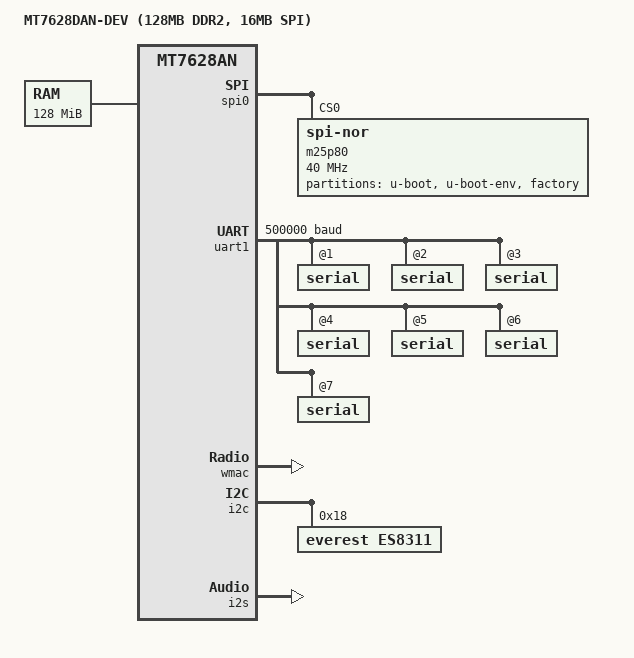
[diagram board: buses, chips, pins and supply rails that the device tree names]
/*
 * MT7628DAN-DEV 公共部分: MT7628DAN, 64MB DDR2, 8MB SPI flash
 * 板名(运行时)取自 compatible 首字符串: custom,mt7628dan-dev
 * 固件分区布局由变体 dts 定义:
 *   MT7628DAN-DEV.dts    单 firmware 分区(调试/日常)
 *   MT7628DAN-DEV-AB.dts A/B 双槽分区(生产, 与 U-Boot AB_SLOT_BOOT 地址对齐)
 */

#include "mt7628an.dtsi"

#include <dt-bindings/gpio/gpio.h>
#include <dt-bindings/input/input.h>

/ {
	compatible = "custom,mt7628dan-dev", "mediatek,mt7628an-soc";
	model = "MT7628DAN-DEV (128MB DDR2, 16MB SPI)";

	chosen {
		bootargs = "console=ttyS0,57600 root=/dev/mtdblock5 rootwait";
	};

	memory@0 {
		device_type = "memory";
		reg = <0x0 0x8000000>;
	};
};

&spi0 {
	status = "okay";

	pinctrl-names = "default";
	pinctrl-0 = <&spi_pins>;

	m25p80@0 {
		compatible = "jedec,spi-nor";
		reg = <0>;
		spi-max-frequency = <40000000>;

		partitions: partitions {
			compatible = "fixed-partitions";
			#address-cells = <1>;
			#size-cells = <1>;

			partition@0 {
				label = "u-boot";
				reg = <0x0 0x30000>;
				read-only;
			};

			partition@30000 {
				label = "u-boot-env";
				reg = <0x30000 0x10000>;
				read-only;
			};

			factory: partition@40000 {
				label = "factory";
				reg = <0x40000 0x10000>;
				read-only;
			};
		};
	};
};

&ethernet {
	mtd-mac-address = <&factory 0x28>;
};

&esw {
	/* 端口0=WAN, 1-4=LAN (WLLLLL) */
	mediatek,portmap = <0x3e>;
};

/*
 * CH9437F 八串口扩展: UART1(0x10000d00, 500Kbps) 为扩展芯片主控链路。
 * 串口0 = 主控接口; 串口1~7 挂外设, 每通道一个 serdev 控制器。
 * 485方向: 串口2 = TNOW2(PIN1, 硬件自动);
 *          串口6 = GPIO5(PIN3, 软件手动, TNOW4 属于UART4 不可用于UART6)。
 * 无设备子节点的通道回落为 /dev/ttyCHn 调试口。
 */
&uart1 {
	compatible = "wch,ch9437f";
	status = "okay";
	current-speed = <500000>;
	wch,external-clock;
	#address-cells = <1>;
	#size-cells = <0>;

	serial@1 {
		reg = <1>;
		ws63 {
			compatible = "custom,m528h-ws63";
		};
	};

	serial@2 {
		reg = <2>;
		wch,rs485-auto;
		rs485 {
			compatible = "custom,rs485";
		};
	};

	serial@3 {
		reg = <3>;
		rv1106 {
			compatible = "custom,rv1106-link";
		};
	};

	serial@4 {
		reg = <4>;
		mcu3 {
			compatible = "custom,n32s032-u3";
		};
	};

	serial@5 {
		reg = <5>;
		mcu0 {
			compatible = "custom,n32s032-u0";
		};
	};

	serial@6 {
		reg = <6>;
		wch,rs485-gpio = <5>;
		rs485 {
			compatible = "custom,rs485";
		};
	};

	serial@7 {
		reg = <7>;
		current-speed = <9600>;
		gps {
			compatible = "custom,atgm336h";
		};
	};
};

&wmac {
	status = "okay";
};

/*
 * Audio: ES8311 codec on I2C (pin24 SCL / pin25 SDA = GPIO4/5).
 * MCLK pin is floating on this board -> "mclk-from-bclk" makes the
 * codec derive its system clock from BCLK (REG01 bit7).
 */
&i2c {
	status = "okay";

	es8311: es8311@18 {
		compatible = "everest,es8311";
		reg = <0x18>;		/* CE pin grounded -> 0x18 */
		#sound-dai-cells = <0>;
		mclk-from-bclk;
		dac-volume = <192>;
	};
};

&i2s {
	#sound-dai-cells = <0>;
	status = "okay";
	pinctrl-names = "default";
	pinctrl-0 = <&i2s_pins>;
};

/* ralink-i2s requests its DMA channels from gdma */
&gdma {
	status = "okay";
};

/* MT7628 is I2S bit-clock and frame master, ES8311 is slave */
/ {
	sound {
		compatible = "simple-audio-card";
		simple-audio-card,name = "mt7628-es8311";
		simple-audio-card,format = "i2s";

		simple-audio-card,bitclock-master = <&cpu_dai>;
		simple-audio-card,frame-master = <&cpu_dai>;

		cpu_dai: simple-audio-card,cpu {
			sound-dai = <&i2s>;
		};

		simple-audio-card,codec {
			sound-dai = <&es8311>;
		};
	};
};

/*
 * pinctrl: mt7628an.dtsi 的 state_default 为空,
 * kernel 4.14 pinctrl-rt2880.c 对空节点返回 -EINVAL(-22),
 * 导致 pinctrl/UART/SPI 全部 probe 失败。
 * 必须覆盖为至少含一个组。gpio 组不与任何驱动冲突(仅设置空闲引脚为GPIO模式)。
 */
&pinctrl {
	state_default: pinctrl0 {
		gpio {
			ralink,group = "gpio";
			ralink,function = "gpio";
		};
	};
};
